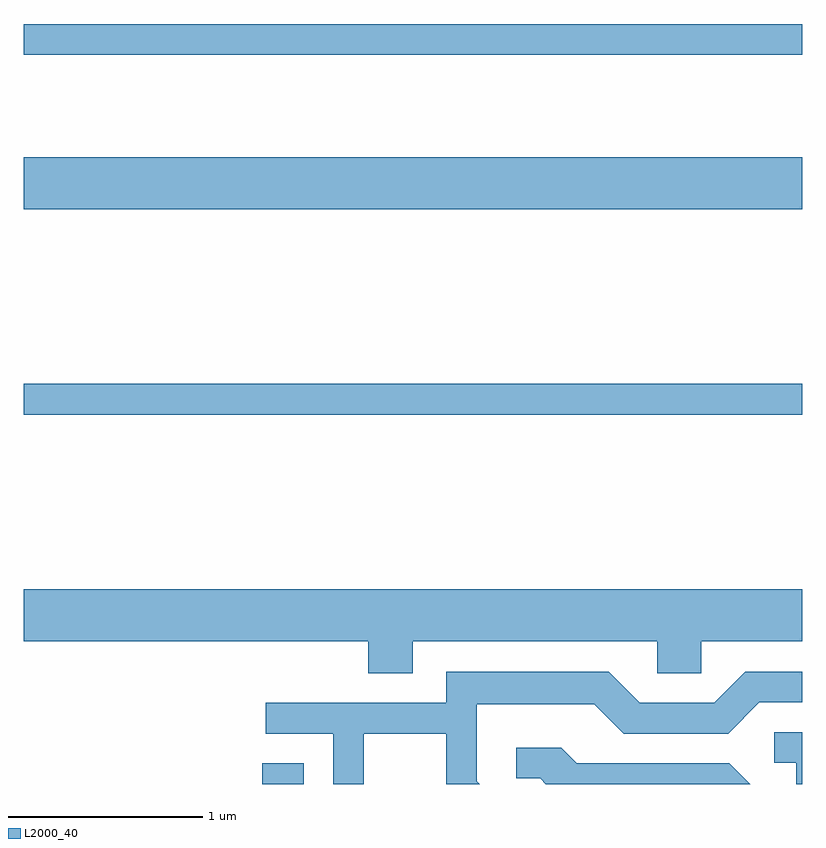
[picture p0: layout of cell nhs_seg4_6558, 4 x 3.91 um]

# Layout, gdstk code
import gdstk
lib = gdstk.Library(unit=1e-6, precision=1e-09)
def R(c, l, rs):  # rectangles x0, y0, x1, y1
    for r in rs: c.add(gdstk.rectangle(r[:2], r[2:], *l))
def P(c, l, *ps):  # polygons
    for p in ps: c.add(gdstk.Polygon(p, *l))
L2000_40 = (2000, 40)

nhs_seg4_6558 = lib.new_cell('nhs_seg4_6558')
R(nhs_seg4_6558, L2000_40, [(378.836,1313.982,379.049,1314.089), (377.611,1315.881,381.611,1316.039), (377.611,1316.936,381.611,1317.204), (377.611,1317.731,381.611,1317.889)])
P(nhs_seg4_6558, L2000_40, [(379.609,1314.716),(380.866,1314.716),(380.866,1314.551),(381.094,1314.551),(381.094,1314.716),(381.611,1314.716),(381.611,1314.984),(377.611,1314.984),(377.611,1314.716),(379.381,1314.716),(379.381,1314.551),(379.609,1314.551)],
  [(379.359,1314.241),(379.781,1314.241),(379.781,1313.982),(379.954,1313.982),(379.939,1313.997),(379.939,1314.391),(380.544,1314.391),(380.694,1314.241),(381.232,1314.241),(381.392,1314.401),(381.611,1314.401),(381.611,1314.559),(381.319,1314.559),(381.159,1314.399),(380.777,1314.399),(380.617,1314.559),(379.781,1314.559),(379.781,1314.399),(378.853,1314.399),(378.853,1314.241),(379.201,1314.241),(379.201,1313.982),(379.359,1313.982)],
  [(381.611,1314.249),(381.468,1314.249),(381.468,1314.091),(381.581,1314.091),(381.581,1313.982),(381.611,1313.982)],
  [(381.237,1314.089),(380.452,1314.089),(380.372,1314.169),(380.143,1314.169),(380.143,1314.011),(380.264,1314.011),(380.293,1313.982),(381.344,1313.982)])

lib.write_gds('nhs_seg4_6558.gds')
